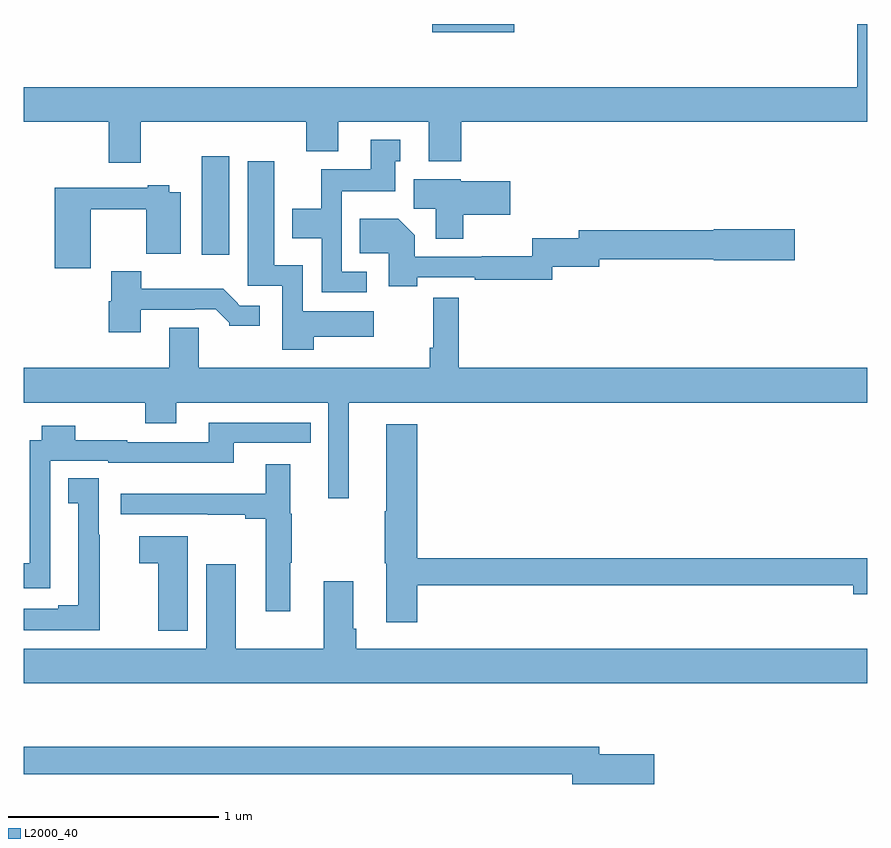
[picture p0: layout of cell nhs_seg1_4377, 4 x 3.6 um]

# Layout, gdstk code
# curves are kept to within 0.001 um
import gdstk
lib = gdstk.Library(unit=1e-6, precision=1e-09)
def R(c, l, rs):  # rectangles x0, y0, x1, y1
    for r in rs: c.add(gdstk.rectangle(r[:2], r[2:], *l))
def P(c, l, *ps):  # polygons
    for p in ps: c.add(gdstk.Polygon(p, *l))
L2000_40 = (2000, 40)

nhs_seg1_4377 = lib.new_cell('nhs_seg1_4377')
R(nhs_seg1_4377, L2000_40, [(349.844,547.104,349.975,547.573), (350.936,548.159,351.325,548.199)])
P(nhs_seg1_4377, L2000_40, [(349.555,547.736),(350.339,547.736),(350.339,547.595),(350.491,547.595),(350.491,547.736),(350.921,547.736),(350.921,547.547),(351.074,547.547),(351.074,547.736),(353,547.736),(353,548.199),(352.952,548.199),(352.952,547.9),(349,547.9),(349,547.736),(349.403,547.736),(349.403,547.542),(349.555,547.542)],
  [(350.626,547.023),(350.508,547.023),(350.508,547.406),(350.761,547.406),(350.761,547.548),(350.785,547.548),(350.785,547.651),(350.645,547.651),(350.645,547.51),(350.41,547.51),(350.41,547.324),(350.273,547.324),(350.273,547.184),(350.412,547.184),(350.412,546.927),(350.626,546.927)],
  [(350.375,546.716),(350.659,546.716),(350.659,546.838),(350.322,546.838),(350.322,547.054),(350.188,547.054),(350.188,547.549),(350.063,547.549),(350.063,546.957),(350.226,546.957),(350.226,546.654),(350.375,546.654)],
  [(351.084,547.295),(351.307,547.295),(351.307,547.453),(351.072,547.453),(351.072,547.462),(350.849,547.462),(350.849,547.324),(350.954,547.324),(350.954,547.18),(351.084,547.18)],
  [(349.318,547.321),(349.582,547.321),(349.582,547.109),(349.744,547.109),(349.744,547.402),(349.689,547.402),(349.689,547.435),(349.589,547.435),(349.589,547.422),(349.148,547.422),(349.148,547.041),(349.318,547.041)],
  [(350.867,546.999),(351.139,546.999),(351.139,546.987),(351.507,546.987),(351.507,547.048),(351.729,547.048),(351.729,547.084),(352.272,547.084),(352.272,547.079),(352.657,547.079),(352.657,547.226),(352.272,547.226),(352.272,547.22),(351.633,547.22),(351.633,547.184),(351.411,547.184),(351.411,547.097),(351.172,547.097),(351.172,547.095),(350.854,547.095),(350.854,547.198),(350.776,547.276),(350.593,547.276),(350.593,547.112),(350.732,547.112),(350.732,546.955),(350.867,546.955)],
  [(349.555,546.843),(349.811,546.843),(349.811,546.846),(349.91,546.846),(349.974,546.782),(349.974,546.767),(350.119,546.767),(350.119,546.864),(350.025,546.864),(349.947,546.943),(349.558,546.943),(349.558,547.027),(349.415,547.027),(349.415,546.885),(349.403,546.885),(349.403,546.738),(349.555,546.738)],
  [(350.542,546.404),(353,546.404),(353,546.568),(351.062,546.568),(351.062,546.901),(350.941,546.901),(350.941,546.664),(350.926,546.664),(350.926,546.568),(349.831,546.568),(349.831,546.758),(349.691,546.758),(349.691,546.568),(349,546.568),(349,546.404),(349.576,546.404),(349.576,546.305),(349.723,546.305),(349.723,546.404),(350.445,546.404),(350.445,545.949),(350.542,545.949)],
  [(349.126,545.846),(349.125,545.846),(349.125,546.129),(349.401,546.129),(349.401,546.119),(349.996,546.119),(349.996,546.213),(350.36,546.213),(350.36,546.309),(349.877,546.309),(349.877,546.216),(349.491,546.216),(349.491,546.226),(349.245,546.226),(349.245,546.295),(349.085,546.295),(349.085,546.225),(349.028,546.225),(349.028,545.643),(349,545.643),(349,545.523),(349.126,545.523)],
  [(350.867,545.538),(352.934,545.538),(352.934,545.495),(353,545.495),(353,545.666),(350.867,545.666),(350.867,546.301),(350.72,546.301),(350.72,545.888),(350.713,545.888),(350.713,545.643),(350.72,545.643),(350.72,545.361),(350.867,545.361)],
  [(350.263,545.644),(350.271,545.644),(350.271,545.877),(350.263,545.877),(350.263,546.112),(350.147,546.112),(350.147,545.971),(349.461,545.971),(349.461,545.874),(349.873,545.874),(349.873,545.872),(350.051,545.872),(350.051,545.854),(350.147,545.854),(350.147,545.415),(350.263,545.415)],
  [(349.361,545.777),(349.356,545.777),(349.356,546.044),(349.21,546.044),(349.21,545.926),(349.259,545.926),(349.259,545.443),(349.163,545.443),(349.163,545.425),(349,545.425),(349,545.324),(349.361,545.324)],
  [(349.777,545.77),(349.548,545.77),(349.548,545.641),(349.637,545.641),(349.637,545.321),(349.777,545.321)],
  [(353,545.236),(350.576,545.236),(350.576,545.332),(350.563,545.332),(350.563,545.557),(350.423,545.557),(350.423,545.236),(350.005,545.236),(350.005,545.638),(349.865,545.638),(349.865,545.236),(349,545.236),(349,545.072),(353,545.072)],
  [(351.991,544.737),(351.73,544.737),(351.73,544.771),(349,544.771),(349,544.642),(351.602,544.642),(351.602,544.595),(351.991,544.595)])

lib.write_gds('nhs_seg1_4377.gds')
